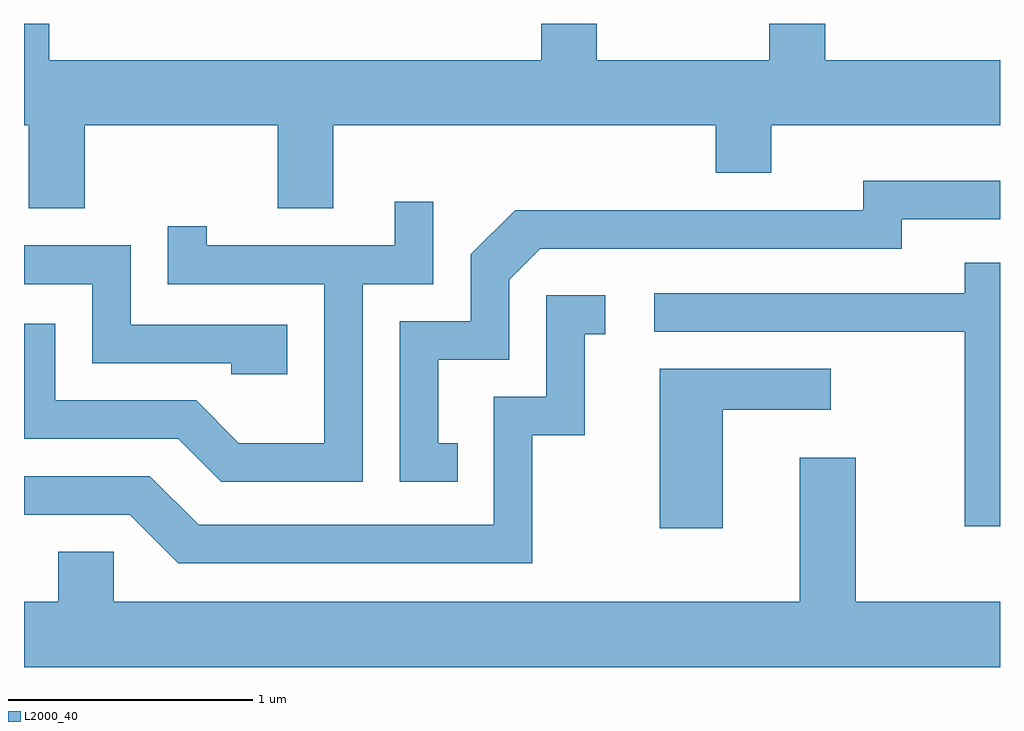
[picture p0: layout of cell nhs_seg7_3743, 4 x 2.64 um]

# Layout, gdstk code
import gdstk
lib = gdstk.Library(unit=1e-6, precision=1e-09)
def P(c, l, *ps):  # polygons
    for p in ps: c.add(gdstk.Polygon(p, *l))
L2000_40 = (2000, 40)

nhs_seg7_3743 = lib.new_cell('nhs_seg7_3743')
P(nhs_seg7_3743, L2000_40, [(299.859,1749.836),(300.651,1749.836),(300.651,1749.496),(300.879,1749.496),(300.879,1749.836),(302.446,1749.836),(302.446,1749.641),(302.674,1749.641),(302.674,1749.836),(303.611,1749.836),(303.611,1750.104),(302.894,1750.104),(302.894,1750.252),(302.666,1750.252),(302.666,1750.104),(301.959,1750.104),(301.959,1750.252),(301.731,1750.252),(301.731,1750.104),(299.714,1750.104),(299.714,1750.252),(299.611,1750.252),(299.611,1749.836),(299.631,1749.836),(299.631,1749.496),(299.859,1749.496)],
  [(301.388,1748.534),(301.309,1748.534),(301.309,1748.876),(301.599,1748.876),(301.599,1749.204),(301.727,1749.331),(303.209,1749.331),(303.209,1749.451),(303.611,1749.451),(303.611,1749.609),(303.051,1749.609),(303.051,1749.489),(301.624,1749.489),(301.441,1749.307),(301.441,1749.034),(301.151,1749.034),(301.151,1748.376),(301.388,1748.376)],
  [(300.999,1749.186),(301.289,1749.186),(301.289,1749.523),(301.131,1749.523),(301.131,1749.344),(300.359,1749.344),(300.359,1749.423),(300.201,1749.423),(300.201,1749.186),(300.841,1749.186),(300.841,1748.534),(300.492,1748.534),(300.317,1748.709),(299.739,1748.709),(299.739,1749.024),(299.611,1749.024),(299.611,1748.551),(300.244,1748.551),(300.419,1748.376),(300.999,1748.376)],
  [(300.689,1749.019),(300.049,1749.019),(300.049,1749.344),(299.611,1749.344),(299.611,1749.186),(299.891,1749.186),(299.891,1748.861),(300.461,1748.861),(300.461,1748.816),(300.689,1748.816)],
  [(303.611,1749.273),(303.466,1749.273),(303.466,1749.149),(302.193,1749.149),(302.193,1748.991),(303.466,1748.991),(303.466,1748.193),(303.611,1748.193)],
  [(301.694,1748.566),(301.909,1748.566),(301.909,1748.981),(301.993,1748.981),(301.993,1749.139),(301.751,1749.139),(301.751,1748.724),(301.536,1748.724),(301.536,1748.199),(300.327,1748.199),(300.127,1748.399),(299.611,1748.399),(299.611,1748.241),(300.044,1748.241),(300.244,1748.041),(301.694,1748.041)],
  [(302.474,1748.671),(302.918,1748.671),(302.918,1748.839),(302.216,1748.839),(302.216,1748.186),(302.474,1748.186)],
  [(303.611,1747.884),(303.019,1747.884),(303.019,1748.474),(302.791,1748.474),(302.791,1747.884),(299.979,1747.884),(299.979,1748.089),(299.751,1748.089),(299.751,1747.884),(299.611,1747.884),(299.611,1747.616),(303.611,1747.616)])

lib.write_gds('nhs_seg7_3743.gds')
